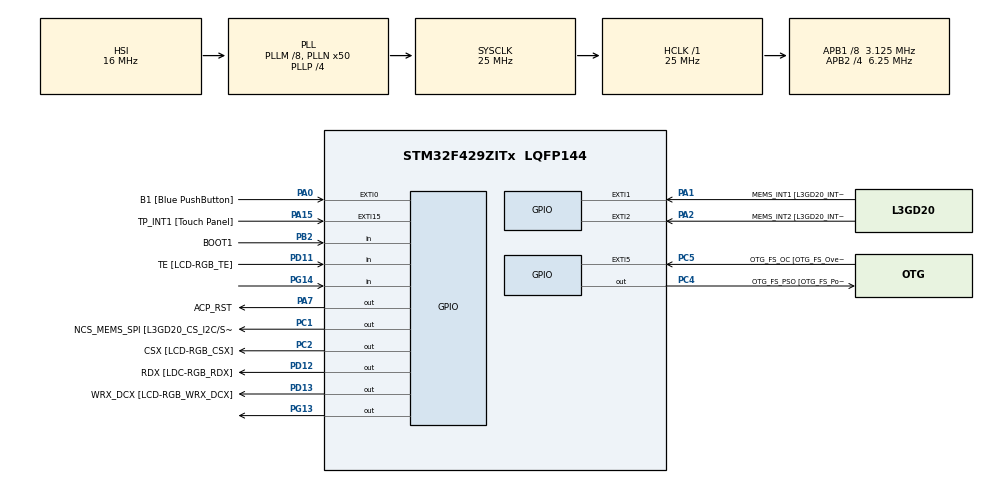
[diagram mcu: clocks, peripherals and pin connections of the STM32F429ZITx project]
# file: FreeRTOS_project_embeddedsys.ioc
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FREERTOS.Queues01=myQueue01,16,uint16_t,0,Dynamic,NULL,NULL;myQueue02,16,uint16_t,0,Dynamic,NULL,NULL
FREERTOS.Tasks01=defaultTask,24,128,StartDefaultTask,Default,NULL,Dynamic,NULL,NULL;myTask02,40,128,StartTask02,Default,NULL,Dynamic,NULL,NULL;myTask03,24,128,StartTask03,Default,NULL,Dynamic,NULL,NULL;myTask04,8,128,StartTask04,Default,NULL,Dynamic,NULL,NULL
Mcu.Family=STM32F4
Mcu.Name=STM32F429ZITx
Mcu.Package=LQFP144
NVIC.PriorityGroup=NVIC_PRIORITYGROUP_4
PA0/WKUP.GPIO_Label=B1 [Blue PushButton]
PA0/WKUP.GPIO_ModeDefaultEXTI=GPIO_MODE_EVT_RISING
PA0/WKUP.GPIO_PuPd=GPIO_NOPULL
PA0/WKUP.Signal=GPXTI0
PA1.GPIO_Label=MEMS_INT1 [L3GD20_INT1]
PA1.GPIO_ModeDefaultEXTI=GPIO_MODE_EVT_RISING
PA1.GPIO_PuPd=GPIO_NOPULL
PA1.Signal=GPXTI1
PA10.GPIO_Label=STLINK_TX [STM32F103CBT6_PA2]
PA10.Signal=USART1_RX
PA11.GPIO_Label=R4
PA11.GPIO_Mode=GPIO_MODE_AF_PP
PA11.GPIO_PuPd=GPIO_NOPULL
PA11.GPIO_Speed=GPIO_SPEED_FREQ_LOW
PA11.Signal=LTDC_R4
PA12.GPIO_Label=R5
PA12.GPIO_Mode=GPIO_MODE_AF_PP
PA12.GPIO_PuPd=GPIO_NOPULL
PA12.GPIO_Speed=GPIO_SPEED_FREQ_LOW
PA12.Signal=LTDC_R5
PA13.GPIO_Label=SWDIO
PA13.Signal=SYS_JTMS-SWDIO
PA14.GPIO_Label=SWCLK
PA14.Signal=SYS_JTCK-SWCLK
PA15.GPIO_Label=TP_INT1 [Touch Panel]
PA15.GPIO_ModeDefaultEXTI=GPIO_MODE_EVT_RISING
PA15.GPIO_PuPd=GPIO_NOPULL
PA15.Signal=GPXTI15
PA2.GPIO_Label=MEMS_INT2 [L3GD20_INT2]
PA2.GPIO_ModeDefaultEXTI=GPIO_MODE_EVT_RISING
PA2.GPIO_PuPd=GPIO_NOPULL
PA2.Signal=GPXTI2
PA3.GPIO_Label=B5
PA3.GPIO_Mode=GPIO_MODE_AF_PP
PA3.GPIO_PuPd=GPIO_NOPULL
PA3.GPIO_Speed=GPIO_SPEED_FREQ_LOW
PA3.Signal=LTDC_B5
PA4.GPIO_Label=VSYNC
PA4.GPIO_Mode=GPIO_MODE_AF_PP
PA4.GPIO_PuPd=GPIO_NOPULL
PA4.GPIO_Speed=GPIO_SPEED_FREQ_LOW
PA4.Signal=LTDC_VSYNC
PA6.GPIO_Label=G2
PA6.GPIO_Mode=GPIO_MODE_AF_PP
PA6.GPIO_PuPd=GPIO_NOPULL
PA6.GPIO_Speed=GPIO_SPEED_FREQ_LOW
PA6.Signal=LTDC_G2
PA7.GPIO_Label=ACP_RST
PA7.GPIO_Mode=GPIO_MODE_OUTPUT_PP
PA7.GPIO_PuPd=GPIO_NOPULL
PA7.GPIO_Speed=GPIO_SPEED_FREQ_LOW
PA7.Signal=GPIO_Output
PA8.GPIO_Label=I2C3_SCL [ACP/RF_SCL]
PA8.GPIO_Mode=GPIO_MODE_AF_OD
PA8.GPIO_PuPd=GPIO_NOPULL
PA8.GPIO_Speed=GPIO_SPEED_FREQ_LOW
PA8.Signal=I2C3_SCL
PA9.GPIO_Label=STLINK_RX [STM32F103CBT6_PA3]
PA9.Signal=USART1_TX
PB0.GPIO_Label=R3
PB0.GPIO_Mode=GPIO_MODE_AF_PP
PB0.GPIO_PuPd=GPIO_NOPULL
PB0.GPIO_Speed=GPIO_SPEED_FREQ_LOW
PB0.Signal=LTDC_R3
PB1.GPIO_Label=R6
PB1.GPIO_Mode=GPIO_MODE_AF_PP
PB1.GPIO_PuPd=GPIO_NOPULL
PB1.GPIO_Speed=GPIO_SPEED_FREQ_LOW
PB1.Signal=LTDC_R6
PB10.GPIO_Label=G4
PB10.GPIO_Mode=GPIO_MODE_AF_PP
PB10.GPIO_PuPd=GPIO_NOPULL
PB10.GPIO_Speed=GPIO_SPEED_FREQ_LOW
PB10.Signal=LTDC_G4
PB11.GPIO_Label=G5
PB11.GPIO_Mode=GPIO_MODE_AF_PP
PB11.GPIO_PuPd=GPIO_NOPULL
PB11.GPIO_Speed=GPIO_SPEED_FREQ_LOW
PB11.Signal=LTDC_G5
PB12.GPIO_Label=OTG_HS_ID
PB12.GPIO_Mode=GPIO_MODE_AF_PP
PB12.GPIO_PuPd=GPIO_NOPULL
PB12.GPIO_Speed=GPIO_SPEED_FREQ_LOW
PB12.Signal=USB_OTG_HS_ID
PB13.GPIO_Label=VBUS_HS
PB13.GPIO_Mode=GPIO_MODE_INPUT
PB13.GPIO_PuPd=GPIO_NOPULL
PB13.Signal=USB_OTG_HS_VBUS
PB14.GPIO_Label=OTG_HS_DM
PB14.GPIO_Mode=GPIO_MODE_AF_PP
PB14.GPIO_PuPd=GPIO_NOPULL
PB14.GPIO_Speed=GPIO_SPEED_FREQ_LOW
PB14.Signal=USB_OTG_HS_DM
PB15.GPIO_Label=OTG_HS_DP
PB15.GPIO_Mode=GPIO_MODE_AF_PP
PB15.GPIO_PuPd=GPIO_NOPULL
PB15.GPIO_Speed=GPIO_SPEED_FREQ_LOW
PB15.Signal=USB_OTG_HS_DP
PB2/BOOT1.GPIO_Label=BOOT1
PB2/BOOT1.GPIO_Mode=GPIO_MODE_INPUT
PB2/BOOT1.GPIO_PuPd=GPIO_NOPULL
PB2/BOOT1.Signal=GPIO_Input
PB5.GPIO_Label=SDCKE1
PB5.GPIO_Mode=GPIO_MODE_AF_PP
PB5.GPIO_PuPd=GPIO_NOPULL
PB5.GPIO_Speed=GPIO_SPEED_FREQ_VERY_HIGH
PB5.Signal=FMC_SDCKE1
PB6.GPIO_Label=SDNE1 [SDRAM_CS]
PB6.GPIO_Mode=GPIO_MODE_AF_PP
PB6.GPIO_PuPd=GPIO_NOPULL
PB6.GPIO_Speed=GPIO_SPEED_FREQ_VERY_HIGH
PB6.Signal=FMC_SDNE1
PB8.GPIO_Label=B6
PB8.GPIO_Mode=GPIO_MODE_AF_PP
PB8.GPIO_PuPd=GPIO_NOPULL
PB8.GPIO_Speed=GPIO_SPEED_FREQ_LOW
PB8.Signal=LTDC_B6
PB9.GPIO_Label=B7
PB9.GPIO_Mode=GPIO_MODE_AF_PP
PB9.GPIO_PuPd=GPIO_NOPULL
PB9.GPIO_Speed=GPIO_SPEED_FREQ_LOW
PB9.Signal=LTDC_B7
PC0.GPIO_Label=SDNWE
PC0.GPIO_Mode=GPIO_MODE_AF_PP
PC0.GPIO_PuPd=GPIO_NOPULL
PC0.GPIO_Speed=GPIO_SPEED_FREQ_VERY_HIGH
PC0.Signal=FMC_SDNWE
PC1.GPIO_Label=NCS_MEMS_SPI [L3GD20_CS_I2C/SPI]
PC1.GPIO_Mode=GPIO_MODE_OUTPUT_PP
PC1.GPIO_PuPd=GPIO_NOPULL
PC1.GPIO_Speed=GPIO_SPEED_FREQ_LOW
PC1.Signal=GPIO_Output
PC10.GPIO_Label=R2
PC10.GPIO_Mode=GPIO_MODE_AF_PP
PC10.GPIO_PuPd=GPIO_NOPULL
PC10.GPIO_Speed=GPIO_SPEED_FREQ_LOW
PC10.Signal=LTDC_R2
PC14/OSC32_IN.GPIO_Label=PC14-OSC32_IN
PC14/OSC32_IN.Signal=RCC_OSC32_IN
PC15/OSC32_OUT.GPIO_Label=PC15-OSC32_OUT
PC15/OSC32_OUT.Signal=RCC_OSC32_OUT
PC2.GPIO_Label=CSX [LCD-RGB_CSX]
PC2.GPIO_Mode=GPIO_MODE_OUTPUT_PP
PC2.GPIO_PuPd=GPIO_NOPULL
PC2.GPIO_Speed=GPIO_SPEED_FREQ_LOW
PC2.Signal=GPIO_Output
PC4.GPIO_Label=OTG_FS_PSO [OTG_FS_PowerSwitchOn]
PC4.GPIO_Mode=GPIO_MODE_OUTPUT_PP
PC4.GPIO_PuPd=GPIO_NOPULL
PC4.GPIO_Speed=GPIO_SPEED_FREQ_LOW
PC4.Signal=GPIO_Output
PC5.GPIO_Label=OTG_FS_OC [OTG_FS_OverCurrent]
PC5.GPIO_ModeDefaultEXTI=GPIO_MODE_EVT_RISING
PC5.Signal=GPXTI5
PC6.GPIO_Label=HSYNC
PC6.GPIO_Mode=GPIO_MODE_AF_PP
PC6.GPIO_PuPd=GPIO_NOPULL
PC6.GPIO_Speed=GPIO_SPEED_FREQ_LOW
PC6.Signal=LTDC_HSYNC
PC7.GPIO_Label=G6
PC7.GPIO_Mode=GPIO_MODE_AF_PP
PC7.GPIO_PuPd=GPIO_NOPULL
PC7.GPIO_Speed=GPIO_SPEED_FREQ_LOW
PC7.Signal=LTDC_G6
PC9.GPIO_Label=I2C3_SDA [ACP/RF_SDA]
PC9.GPIO_Mode=GPIO_MODE_AF_OD
PC9.GPIO_PuPd=GPIO_NOPULL
PC9.GPIO_Speed=GPIO_SPEED_FREQ_LOW
PC9.Signal=I2C3_SDA
PD0.GPIO_Label=D2
PD0.GPIO_Mode=GPIO_MODE_AF_PP
PD0.GPIO_PuPd=GPIO_NOPULL
PD0.GPIO_Speed=GPIO_SPEED_FREQ_VERY_HIGH
PD0.Signal=FMC_D2_DA2
PD1.GPIO_Label=D3
PD1.GPIO_Mode=GPIO_MODE_AF_PP
PD1.GPIO_PuPd=GPIO_NOPULL
PD1.GPIO_Speed=GPIO_SPEED_FREQ_VERY_HIGH
PD1.Signal=FMC_D3_DA3
PD10.GPIO_Label=D15
PD10.GPIO_Mode=GPIO_MODE_AF_PP
PD10.GPIO_PuPd=GPIO_NOPULL
PD10.GPIO_Speed=GPIO_SPEED_FREQ_VERY_HIGH
PD10.Signal=FMC_D15_DA15
PD11.GPIO_Label=TE [LCD-RGB_TE]
PD11.GPIO_Mode=GPIO_MODE_INPUT
PD11.GPIO_PuPd=GPIO_NOPULL
PD11.Signal=GPIO_Input
PD12.GPIO_Label=RDX [LDC-RGB_RDX]
PD12.GPIO_Mode=GPIO_MODE_OUTPUT_PP
PD12.GPIO_PuPd=GPIO_NOPULL
PD12.GPIO_Speed=GPIO_SPEED_FREQ_LOW
PD12.Signal=GPIO_Output
PD13.GPIO_Label=WRX_DCX [LCD-RGB_WRX_DCX]
PD13.GPIO_Mode=GPIO_MODE_OUTPUT_PP
PD13.GPIO_PuPd=GPIO_NOPULL
PD13.GPIO_Speed=GPIO_SPEED_FREQ_LOW
PD13.Signal=GPIO_Output
PD14.GPIO_Label=D0
PD14.GPIO_Mode=GPIO_MODE_AF_PP
PD14.GPIO_PuPd=GPIO_NOPULL
PD14.GPIO_Speed=GPIO_SPEED_FREQ_VERY_HIGH
PD14.Signal=FMC_D0_DA0
PD15.GPIO_Label=D1
PD15.GPIO_Mode=GPIO_MODE_AF_PP
PD15.GPIO_PuPd=GPIO_NOPULL
PD15.GPIO_Speed=GPIO_SPEED_FREQ_VERY_HIGH
PD15.Signal=FMC_D1_DA1
PD3.GPIO_Label=G7
PD3.GPIO_Mode=GPIO_MODE_AF_PP
PD3.GPIO_PuPd=GPIO_NOPULL
PD3.GPIO_Speed=GPIO_SPEED_FREQ_LOW
PD3.Signal=LTDC_G7
PD6.GPIO_Label=B2
PD6.GPIO_Mode=GPIO_MODE_AF_PP
PD6.GPIO_PuPd=GPIO_NOPULL
PD6.GPIO_Speed=GPIO_SPEED_FREQ_LOW
PD6.Signal=LTDC_B2
PD8.GPIO_Label=D13
PD8.GPIO_Mode=GPIO_MODE_AF_PP
PD8.GPIO_PuPd=GPIO_NOPULL
PD8.GPIO_Speed=GPIO_SPEED_FREQ_VERY_HIGH
PD8.Signal=FMC_D13_DA13
PD9.GPIO_Label=D14
PD9.GPIO_Mode=GPIO_MODE_AF_PP
PD9.GPIO_PuPd=GPIO_NOPULL
PD9.GPIO_Speed=GPIO_SPEED_FREQ_VERY_HIGH
PD9.Signal=FMC_D14_DA14
PE0.GPIO_Label=NBL0 [SDRAM_LDQM]
PE0.GPIO_Mode=GPIO_MODE_AF_PP
PE0.GPIO_PuPd=GPIO_NOPULL
PE0.GPIO_Speed=GPIO_SPEED_FREQ_VERY_HIGH
PE0.Signal=FMC_NBL0
PE1.GPIO_Label=NBL1 [SDRAM_UDQM]
PE1.GPIO_Mode=GPIO_MODE_AF_PP
PE1.GPIO_PuPd=GPIO_NOPULL
PE1.GPIO_Speed=GPIO_SPEED_FREQ_VERY_HIGH
PE1.Signal=FMC_NBL1
PE10.GPIO_Label=D7
PE10.GPIO_Mode=GPIO_MODE_AF_PP
PE10.GPIO_PuPd=GPIO_NOPULL
PE10.GPIO_Speed=GPIO_SPEED_FREQ_VERY_HIGH
PE10.Signal=FMC_D7_DA7
PE11.GPIO_Label=D8
PE11.GPIO_Mode=GPIO_MODE_AF_PP
PE11.GPIO_PuPd=GPIO_NOPULL
PE11.GPIO_Speed=GPIO_SPEED_FREQ_VERY_HIGH
PE11.Signal=FMC_D8_DA8
PE12.GPIO_Label=D9
PE12.GPIO_Mode=GPIO_MODE_AF_PP
PE12.GPIO_PuPd=GPIO_NOPULL
PE12.GPIO_Speed=GPIO_SPEED_FREQ_VERY_HIGH
PE12.Signal=FMC_D9_DA9
PE13.GPIO_Label=D10
PE13.GPIO_Mode=GPIO_MODE_AF_PP
PE13.GPIO_PuPd=GPIO_NOPULL
PE13.GPIO_Speed=GPIO_SPEED_FREQ_VERY_HIGH
PE13.Signal=FMC_D10_DA10
PE14.GPIO_Label=D11
PE14.GPIO_Mode=GPIO_MODE_AF_PP
PE14.GPIO_PuPd=GPIO_NOPULL
PE14.GPIO_Speed=GPIO_SPEED_FREQ_VERY_HIGH
PE14.Signal=FMC_D11_DA11
PE15.GPIO_Label=D12
PE15.GPIO_Mode=GPIO_MODE_AF_PP
PE15.GPIO_PuPd=GPIO_NOPULL
PE15.GPIO_Speed=GPIO_SPEED_FREQ_VERY_HIGH
PE15.Signal=FMC_D12_DA12
PE7.GPIO_Label=D4
PE7.GPIO_Mode=GPIO_MODE_AF_PP
PE7.GPIO_PuPd=GPIO_NOPULL
PE7.GPIO_Speed=GPIO_SPEED_FREQ_VERY_HIGH
PE7.Signal=FMC_D4_DA4
PE8.GPIO_Label=D5
PE8.GPIO_Mode=GPIO_MODE_AF_PP
PE8.GPIO_PuPd=GPIO_NOPULL
PE8.GPIO_Speed=GPIO_SPEED_FREQ_VERY_HIGH
PE8.Signal=FMC_D5_DA5
PE9.GPIO_Label=D6
PE9.GPIO_Mode=GPIO_MODE_AF_PP
PE9.GPIO_PuPd=GPIO_NOPULL
PE9.GPIO_Speed=GPIO_SPEED_FREQ_VERY_HIGH
PE9.Signal=FMC_D6_DA6
PF0.GPIO_Label=A0
PF0.GPIO_Mode=GPIO_MODE_AF_PP
PF0.GPIO_PuPd=GPIO_NOPULL
PF0.GPIO_Speed=GPIO_SPEED_FREQ_VERY_HIGH
PF0.Signal=FMC_A0
PF1.GPIO_Label=A1
PF1.GPIO_Mode=GPIO_MODE_AF_PP
PF1.GPIO_PuPd=GPIO_NOPULL
PF1.GPIO_Speed=GPIO_SPEED_FREQ_VERY_HIGH
PF1.Signal=FMC_A1
PF10.GPIO_Label=ENABLE [LCD-RGB_ENABLE]
PF10.GPIO_Mode=GPIO_MODE_AF_PP
PF10.GPIO_PuPd=GPIO_NOPULL
PF10.GPIO_Speed=GPIO_SPEED_FREQ_LOW
PF10.Signal=LTDC_DE
PF11.GPIO_Label=SDNRAS
PF11.GPIO_Mode=GPIO_MODE_AF_PP
PF11.GPIO_PuPd=GPIO_NOPULL
PF11.GPIO_Speed=GPIO_SPEED_FREQ_VERY_HIGH
PF11.Signal=FMC_SDNRAS
PF12.GPIO_Label=A6
PF12.GPIO_Mode=GPIO_MODE_AF_PP
PF12.GPIO_PuPd=GPIO_NOPULL
PF12.GPIO_Speed=GPIO_SPEED_FREQ_VERY_HIGH
PF12.Signal=FMC_A6
PF13.GPIO_Label=A7
PF13.GPIO_Mode=GPIO_MODE_AF_PP
PF13.GPIO_PuPd=GPIO_NOPULL
PF13.GPIO_Speed=GPIO_SPEED_FREQ_VERY_HIGH
PF13.Signal=FMC_A7
PF14.GPIO_Label=A8
PF14.GPIO_Mode=GPIO_MODE_AF_PP
PF14.GPIO_PuPd=GPIO_NOPULL
PF14.GPIO_Speed=GPIO_SPEED_FREQ_VERY_HIGH
PF14.Signal=FMC_A8
PF15.GPIO_Label=A9
PF15.GPIO_Mode=GPIO_MODE_AF_PP
PF15.GPIO_PuPd=GPIO_NOPULL
PF15.GPIO_Speed=GPIO_SPEED_FREQ_VERY_HIGH
PF15.Signal=FMC_A9
PF2.GPIO_Label=A2
PF2.GPIO_Mode=GPIO_MODE_AF_PP
PF2.GPIO_PuPd=GPIO_NOPULL
PF2.GPIO_Speed=GPIO_SPEED_FREQ_VERY_HIGH
PF2.Signal=FMC_A2
PF3.GPIO_Label=A3
PF3.GPIO_Mode=GPIO_MODE_AF_PP
PF3.GPIO_PuPd=GPIO_NOPULL
PF3.GPIO_Speed=GPIO_SPEED_FREQ_VERY_HIGH
PF3.Signal=FMC_A3
PF4.GPIO_Label=A4
PF4.GPIO_Mode=GPIO_MODE_AF_PP
PF4.GPIO_PuPd=GPIO_NOPULL
PF4.GPIO_Speed=GPIO_SPEED_FREQ_VERY_HIGH
PF4.Signal=FMC_A4
PF5.GPIO_Label=A5
PF5.GPIO_Mode=GPIO_MODE_AF_PP
PF5.GPIO_PuPd=GPIO_NOPULL
PF5.GPIO_Speed=GPIO_SPEED_FREQ_VERY_HIGH
PF5.Signal=FMC_A5
PF7.GPIO_Label=SPI5_SCK [L3GD20_SCL/SPC]
PF7.GPIO_Mode=GPIO_MODE_AF_PP
PF7.GPIO_PuPd=GPIO_NOPULL
PF7.GPIO_Speed=GPIO_SPEED_FREQ_LOW
PF7.Signal=SPI5_SCK
PF8.GPIO_Label=SPI5_MISO [L3GD20_SDO]
PF8.GPIO_Mode=GPIO_MODE_AF_PP
PF8.GPIO_PuPd=GPIO_NOPULL
PF8.GPIO_Speed=GPIO_SPEED_FREQ_LOW
PF8.Signal=SPI5_MISO
PF9.GPIO_Label=SPI5_MOSI [L3GD20_SDA/SDI/SDO]
PF9.GPIO_Mode=GPIO_MODE_AF_PP
PF9.GPIO_PuPd=GPIO_NOPULL
PF9.GPIO_Speed=GPIO_SPEED_FREQ_LOW
PF9.Signal=SPI5_MOSI
PG0.GPIO_Label=A10
PG0.GPIO_Mode=GPIO_MODE_AF_PP
PG0.GPIO_PuPd=GPIO_NOPULL
PG0.GPIO_Speed=GPIO_SPEED_FREQ_VERY_HIGH
PG0.Signal=FMC_A10
PG1.GPIO_Label=A11
PG1.GPIO_Mode=GPIO_MODE_AF_PP
PG1.GPIO_PuPd=GPIO_NOPULL
PG1.GPIO_Speed=GPIO_SPEED_FREQ_VERY_HIGH
PG1.Signal=FMC_A11
PG10.GPIO_Label=G3
PG10.GPIO_Mode=GPIO_MODE_AF_PP
PG10.GPIO_PuPd=GPIO_NOPULL
PG10.GPIO_Speed=GPIO_SPEED_FREQ_LOW
PG10.Signal=LTDC_G3
PG11.GPIO_Label=B3
PG11.GPIO_Mode=GPIO_MODE_AF_PP
PG11.GPIO_PuPd=GPIO_NOPULL
PG11.GPIO_Speed=GPIO_SPEED_FREQ_LOW
PG11.Signal=LTDC_B3
PG12.GPIO_Label=B4
PG12.GPIO_Mode=GPIO_MODE_AF_PP
PG12.GPIO_PuPd=GPIO_NOPULL
PG12.GPIO_Speed=GPIO_SPEED_FREQ_LOW
PG12.Signal=LTDC_B4
PG13.Signal=GPIO_Output
PG14.Signal=GPIO_Input
PG15.GPIO_Label=SDNCAS
PG15.GPIO_Mode=GPIO_MODE_AF_PP
PG15.GPIO_PuPd=GPIO_NOPULL
PG15.GPIO_Speed=GPIO_SPEED_FREQ_VERY_HIGH
PG15.Signal=FMC_SDNCAS
PG4.GPIO_Label=BA0
PG4.GPIO_Mode=GPIO_MODE_AF_PP
PG4.GPIO_PuPd=GPIO_NOPULL
PG4.GPIO_Speed=GPIO_SPEED_FREQ_VERY_HIGH
PG4.Signal=FMC_A14_BA0
PG5.GPIO_Label=BA1
PG5.GPIO_Mode=GPIO_MODE_AF_PP
PG5.GPIO_PuPd=GPIO_NOPULL
PG5.GPIO_Speed=GPIO_SPEED_FREQ_VERY_HIGH
PG5.Signal=FMC_A15_BA1
PG6.GPIO_Label=R7
PG6.GPIO_Mode=GPIO_MODE_AF_PP
PG6.GPIO_PuPd=GPIO_NOPULL
PG6.GPIO_Speed=GPIO_SPEED_FREQ_LOW
PG6.Signal=LTDC_R7
PG7.GPIO_Label=DOTCLK [LCT-RGB_DOTCLK]
PG7.GPIO_Mode=GPIO_MODE_AF_PP
PG7.GPIO_PuPd=GPIO_NOPULL
PG7.GPIO_Speed=GPIO_SPEED_FREQ_LOW
PG7.Signal=LTDC_CLK
PG8.GPIO_Label=SDCLK
PG8.GPIO_Mode=GPIO_MODE_AF_PP
PG8.GPIO_PuPd=GPIO_NOPULL
PG8.GPIO_Speed=GPIO_SPEED_FREQ_VERY_HIGH
PG8.Signal=FMC_SDCLK
PH0/OSC_IN.GPIO_Label=PH0-OSC_IN
PH0/OSC_IN.Signal=RCC_OSC_IN
PH1/OSC_OUT.GPIO_Label=PH1-OSC_OUT
PH1/OSC_OUT.Signal=RCC_OSC_OUT
ProjectManager.HeapSize=0x200
ProjectManager.StackSize=0x400
ProjectManager.TargetToolchain=STM32CubeIDE
RCC.48MHZClocksFreq_Value=14285714.285714285
RCC.AHBFreq_Value=25000000
RCC.APB1CLKDivider=RCC_HCLK_DIV8
RCC.APB1Freq_Value=3125000
RCC.APB1TimFreq_Value=6250000
RCC.APB2CLKDivider=RCC_HCLK_DIV4
RCC.APB2Freq_Value=6250000
RCC.APB2TimFreq_Value=12500000
RCC.CortexFreq_Value=25000000
RCC.HCLKFreq_Value=25000000
RCC.HSE_VALUE=8000000
RCC.HSI_VALUE=16000000
RCC.LSE_VALUE=32768
RCC.PLLM=8
RCC.PLLN=50
RCC.PLLP=RCC_PLLP_DIV4
RCC.PLLQ=7
RCC.SYSCLKFreq_VALUE=25000000
RCC.SYSCLKSource=RCC_SYSCLKSOURCE_PLLCLK
RCC.VCOOutputFreq_Value=100000000
SH.FMC_A0.0=FMC_A0
SH.FMC_A1.0=FMC_A1
SH.FMC_A10.0=FMC_A10
SH.FMC_A11.0=FMC_A11
SH.FMC_A14_BA0.0=FMC_BA0
SH.FMC_A15_BA1.0=FMC_BA1
SH.FMC_A2.0=FMC_A2
SH.FMC_A3.0=FMC_A3
SH.FMC_A4.0=FMC_A4
SH.FMC_A5.0=FMC_A5
SH.FMC_A6.0=FMC_A6
SH.FMC_A7.0=FMC_A7
SH.FMC_A8.0=FMC_A8
SH.FMC_A9.0=FMC_A9
SH.FMC_D0_DA0.0=FMC_D0
SH.FMC_D10_DA10.0=FMC_D10
SH.FMC_D11_DA11.0=FMC_D11
SH.FMC_D12_DA12.0=FMC_D12
SH.FMC_D13_DA13.0=FMC_D13
SH.FMC_D14_DA14.0=FMC_D14
SH.FMC_D15_DA15.0=FMC_D15
SH.FMC_D1_DA1.0=FMC_D1
SH.FMC_D2_DA2.0=FMC_D2
SH.FMC_D3_DA3.0=FMC_D3
SH.FMC_D4_DA4.0=FMC_D4
SH.FMC_D5_DA5.0=FMC_D5
SH.FMC_D6_DA6.0=FMC_D6
SH.FMC_D7_DA7.0=FMC_D7
SH.FMC_D8_DA8.0=FMC_D8
SH.FMC_D9_DA9.0=FMC_D9
SH.FMC_NBL0.0=FMC_NBL0
SH.FMC_NBL1.0=FMC_NBL1
SH.FMC_SDCLK.0=FMC_SDCLK
SH.FMC_SDNCAS.0=FMC_SDNCAS
SH.FMC_SDNRAS.0=FMC_SDNRAS
SH.FMC_SDNWE.0=FMC_SDNWE
VP_FREERTOS_VS_CMSIS_V2.Mode=CMSIS_V2
board=STM32F429I-DISC1

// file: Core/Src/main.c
/* USER CODE BEGIN Header */
/**
  ******************************************************************************
  * @file           : main.c
  * @brief          : Main program body - Collision Detection (Ultrasonic + FreeRTOS)
  ******************************************************************************
  * @attention
  *
  * Copyright (c) 2025
  *
  ******************************************************************************
  */
/* USER CODE END Header */

#include "main.h"
#include "cmsis_os.h"
#include <stdio.h>

/* USER CODE BEGIN PD */
#define TRIG_PIN    GPIO_PIN_14
#define TRIG_PORT   GPIOG
#define ECHO_PIN    GPIO_PIN_13
#define ECHO_PORT   GPIOG

#define LED_PIN     GPIO_PIN_13
#define LED_PORT    GPIOD
#define BUZZ_PIN    GPIO_PIN_12
#define BUZZ_PORT   GPIOD

/* USER CODE END PD */

/* Definitions for defaultTask */
osThreadId_t defaultTaskHandle;
const osThreadAttr_t defaultTask_attributes = {
  .name = "defaultTask",
  .stack_size = 128 * 4,
  .priority = (osPriority_t) osPriorityNormal,
};
/* Definitions for myTask02 (Sensor) */
osThreadId_t myTask02Handle;
const osThreadAttr_t myTask02_attributes = {
  .name = "myTask02",
  .stack_size = 256 * 4,
  .priority = (osPriority_t) osPriorityHigh,
};
/* Definitions for myTask03 (Logic) */
osThreadId_t myTask03Handle;
const osThreadAttr_t myTask03_attributes = {
  .name = "myTask03",
  .stack_size = 256 * 4,
  .priority = (osPriority_t) osPriorityNormal,
};
/* Definitions for myTask04 (Alarm) */
osThreadId_t myTask04Handle;
const osThreadAttr_t myTask04_attributes = {
  .name = "myTask04",
  .stack_size = 256 * 4,
  .priority = (osPriority_t) osPriorityNormal,
};
/* Definitions for myQueue01 (distance) */
osMessageQueueId_t myQueue01Handle;
const osMessageQueueAttr_t myQueue01_attributes = {
  .name = "myQueue01"
};
/* Definitions for myQueue02 (frequency) */
osMessageQueueId_t myQueue02Handle;
const osMessageQueueAttr_t myQueue02_attributes = {
  .name = "myQueue02"
};

/* USER CODE BEGIN PV */
/* Private variables --------------------------------------------------------*/
/* USER CODE END PV */

void SystemClock_Config(void);
static void MX_GPIO_Init(void);
void StartDefaultTask(void *argument);
void StartTask02(void *argument); // Sensor
void StartTask03(void *argument); // Logic
void StartTask04(void *argument); // Alarm

/* USER CODE BEGIN PFP */
/* helper prototypes */
static void DWT_Delay_Init(void);
static void delay_us(uint32_t us);
static uint32_t Measure_Echo_Time_us(void);
/* USER CODE END PFP */

int main(void)
{

  /* MCU Configuration--------------------------------------------------------*/
  HAL_Init();

  SystemClock_Config();

  /* USER CODE BEGIN SysInit */
  /* Enable DWT for microsecond delays */
  DWT_Delay_Init();
  /* USER CODE END SysInit */

  /* Initialize all configured peripherals */
  MX_GPIO_Init();

  /* Init scheduler */
  osKernelInitialize();

  /* Create the queue(s) */
  myQueue01Handle = osMessageQueueNew (16, sizeof(float), &myQueue01_attributes);    // distance in cm (float)
  myQueue02Handle = osMessageQueueNew (16, sizeof(uint32_t), &myQueue02_attributes);// frequency in Hz (uint32)

  /* Create the thread(s) */
  defaultTaskHandle = osThreadNew(StartDefaultTask, NULL, &defaultTask_attributes);
  myTask02Handle = osThreadNew(StartTask02, NULL, &myTask02_attributes); // Sensing task
  myTask03Handle = osThreadNew(StartTask03, NULL, &myTask03_attributes); // Logic or the calculation task
  myTask04Handle = osThreadNew(StartTask04, NULL, &myTask04_attributes); // Alarm output as the frequency threshold increases.

  /* Start scheduler */
  osKernelStart();

  /* We should never get here as control is now taken by the scheduler */
  while (1)
  {
    /* Should not reach here */
  }
}

void SystemClock_Config(void)
{
  RCC_OscInitTypeDef RCC_OscInitStruct = {0};
  RCC_ClkInitTypeDef RCC_ClkInitStruct = {0};

  __HAL_RCC_PWR_CLK_ENABLE();
  __HAL_PWR_VOLTAGESCALING_CONFIG(PWR_REGULATOR_VOLTAGE_SCALE3);

  RCC_OscInitStruct.OscillatorType = RCC_OSCILLATORTYPE_HSI;
  RCC_OscInitStruct.HSIState = RCC_HSI_ON;
  RCC_OscInitStruct.HSICalibrationValue = RCC_HSICALIBRATION_DEFAULT;
  RCC_OscInitStruct.PLL.PLLState = RCC_PLL_ON;
  RCC_OscInitStruct.PLL.PLLSource = RCC_PLLSOURCE_HSI;
  RCC_OscInitStruct.PLL.PLLM = 8;
  RCC_OscInitStruct.PLL.PLLN = 50;
  RCC_OscInitStruct.PLL.PLLP = RCC_PLLP_DIV4;
  RCC_OscInitStruct.PLL.PLLQ = 7;

  if (HAL_RCC_OscConfig(&RCC_OscInitStruct) != HAL_OK) { Error_Handler(); }

  RCC_ClkInitStruct.ClockType = RCC_CLOCKTYPE_HCLK|RCC_CLOCKTYPE_SYSCLK
                              |RCC_CLOCKTYPE_PCLK1|RCC_CLOCKTYPE_PCLK2;
  RCC_ClkInitStruct.SYSCLKSource = RCC_SYSCLKSOURCE_PLLCLK;
  RCC_ClkInitStruct.AHBCLKDivider = RCC_SYSCLK_DIV1;
  RCC_ClkInitStruct.APB1CLKDivider = RCC_HCLK_DIV8;
  RCC_ClkInitStruct.APB2CLKDivider = RCC_HCLK_DIV4;

  if (HAL_RCC_ClockConfig(&RCC_ClkInitStruct, FLASH_LATENCY_0) != HAL_OK) { Error_Handler(); }
}

static void MX_GPIO_Init(void)
{
  GPIO_InitTypeDef GPIO_InitStruct = {0};

  /* GPIO Ports Clock Enable */
  __HAL_RCC_GPIOG_CLK_ENABLE();
  __HAL_RCC_GPIOD_CLK_ENABLE();

  /* Configure PG14 as TRIG output */
  HAL_GPIO_WritePin(TRIG_PORT, TRIG_PIN, GPIO_PIN_RESET);
  GPIO_InitStruct.Pin = TRIG_PIN;
  GPIO_InitStruct.Mode = GPIO_MODE_OUTPUT_PP;
  GPIO_InitStruct.Pull = GPIO_NOPULL;
  GPIO_InitStruct.Speed = GPIO_SPEED_FREQ_LOW;
  HAL_GPIO_Init(TRIG_PORT, &GPIO_InitStruct);

  /* Configure PG13 as ECHO input */
  GPIO_InitStruct.Pin = ECHO_PIN;
  GPIO_InitStruct.Mode = GPIO_MODE_INPUT;
  GPIO_InitStruct.Pull = GPIO_NOPULL;
  HAL_GPIO_Init(ECHO_PORT, &GPIO_InitStruct);

  /* Configure PD12 (BUZZ) and PD13 (LED) as outputs */
  HAL_GPIO_WritePin(BUZZ_PORT, BUZZ_PIN, GPIO_PIN_RESET);
  HAL_GPIO_WritePin(LED_PORT, LED_PIN, GPIO_PIN_RESET);
  GPIO_InitStruct.Pin = BUZZ_PIN | LED_PIN;
  GPIO_InitStruct.Mode = GPIO_MODE_OUTPUT_PP;
  GPIO_InitStruct.Pull = GPIO_NOPULL;
  GPIO_InitStruct.Speed = GPIO_SPEED_FREQ_LOW;
  HAL_GPIO_Init(LED_PORT, &GPIO_InitStruct);
}

/* USER CODE BEGIN 4 */

/* ---------------------------
   DWT microsecond delay helpers
   --------------------------- */
static void DWT_Delay_Init(void)
{
  /* Enable DWT and CYCCNT */
  CoreDebug->DEMCR |= CoreDebug_DEMCR_TRCENA_Msk;
  DWT->CYCCNT = 0;
  DWT->CTRL |= DWT_CTRL_CYCCNTENA_Msk;

}

static void delay_us(uint32_t us)
{
  uint32_t cycles = (SystemCoreClock / 1000000UL) * us;
  uint32_t start = DWT->CYCCNT;
  while ((DWT->CYCCNT - start) < cycles) { __NOP(); }
}

/* Measure echo pulse width in microseconds (busy-wait with timeout) */
static uint32_t Measure_Echo_Time_us(void)
{
  const uint32_t timeout_us = 30000UL; // 30 ms timeout
  uint32_t t_start = DWT->CYCCNT;
  uint32_t limit = (SystemCoreClock / 1000000UL) * timeout_us;

  /* Wait for rising edge */
  while (HAL_GPIO_ReadPin(ECHO_PORT, ECHO_PIN) == GPIO_PIN_RESET)
  {
    if ((DWT->CYCCNT - t_start) > limit)
    	return 0;
  }
  uint32_t t_rise = DWT->CYCCNT;

  /* Wait for falling edge */
  while (HAL_GPIO_ReadPin(ECHO_PORT, ECHO_PIN) == GPIO_PIN_SET)
  {
    if ((DWT->CYCCNT - t_start) > limit)
    	return 0;
  }
  uint32_t t_fall = DWT->CYCCNT;

  uint32_t cycles = t_fall - t_rise;
  uint32_t us = cycles / (SystemCoreClock / 1000000UL);
  return us;
}

/* USER CODE END 4 */

void StartDefaultTask(void *argument)
{
  /* Infinite loop */
  for(;;)
  {
    osDelay(1000);
  }
}

/* StartTask02: Sensor Task (Ultrasonic) ------------------------------------*/
void StartTask02(void *argument)
{
  float distance_cm = 0.0f;
  uint32_t echo_us = 0;

  for(;;)
  {
    /* Generate 10 us trigger pulse */
    HAL_GPIO_WritePin(TRIG_PORT, TRIG_PIN, GPIO_PIN_SET);
    delay_us(10);
    HAL_GPIO_WritePin(TRIG_PORT, TRIG_PIN, GPIO_PIN_RESET);

    /* Measure echo pulse width */
    echo_us = Measure_Echo_Time_us(); // microseconds

    if (echo_us == 0)
    {
      /* timeout or no echo - treat as large distance */
      distance_cm = 999.0f;
    }
    else
    {
      /* distance (cm) = (time_us * 0.0343) / 2 */
      distance_cm = (echo_us * 0.0343f) / 2.0f;
    }

    /* Send distance to logic task */
    osMessageQueuePut(myQueue01Handle, &distance_cm, 0, 0);

    /* Wait before next measurement */
    osDelay(150); // 150 ms
  }
}

/* StartTask03: Logic Task (distance -> frequency) --------------------------*/
void StartTask03(void *argument)
{
  float distance_cm;
  uint32_t frequency;

  for(;;)
  {
    if (osMessageQueueGet(myQueue01Handle, &distance_cm, NULL, osWaitForever) == osOK)
    {
      /* If within threshold -> produce frequency; else 0 */
      if (distance_cm < 15.0f)
      {
        /* Map distance (0..15 cm) inversely to frequency (800..200 Hz)
           closer -> higher freq */
        float t = (15.0f - distance_cm) / 15.0f; // 0..1
        float f = 200.0f + t * (800.0f - 200.0f); // 200..800 Hz
        if (f < 1.0f) f = 0;
        frequency = (uint32_t)f;
      }
      else
      {
        frequency = 0;
      }

      osMessageQueuePut(myQueue02Handle, &frequency, 0, 0);
    }
  }
}

/* StartTask04: Alarm Task (LED + Buzzer) ----------------------------------*/
void StartTask04(void *argument)
{
  uint32_t freq;
  for(;;)
  {
    if (osMessageQueueGet(myQueue02Handle, &freq, NULL, osWaitForever) == osOK)
    {
      if (freq > 0)
      {
        /* clamp freq to avoid division by zero and extreme values */
        if (freq > 5000) freq = 5000;

        /* compute half period in microseconds (50% duty) */
        uint32_t half_period_us = (500000U / (freq > 0 ? freq : 1)); // 500000/freq = (1000ms/2)/freq *1000 -> microsec
        if (half_period_us == 0) half_period_us = 1;

        /* Produce tone for a short burst then yield to scheduler */
        /* We'll produce 20 full cycles then yield */
        for (uint32_t i = 0; i < 20; ++i)
        {
          HAL_GPIO_TogglePin(LED_PORT, LED_PIN);
          HAL_GPIO_TogglePin(BUZZ_PORT, BUZZ_PIN);
          delay_us(half_period_us);
        }
        /* After burst, small pause */
        osDelay(10);
      }
      else
      {
        /* No tone - ensure pins off */
        HAL_GPIO_WritePin(LED_PORT, LED_PIN, GPIO_PIN_RESET);
        HAL_GPIO_WritePin(BUZZ_PORT, BUZZ_PIN, GPIO_PIN_RESET);
        osDelay(100);
      }
    }
  }
}

void Error_Handler(void)
{
  __disable_irq();
  while (1) { }
}
